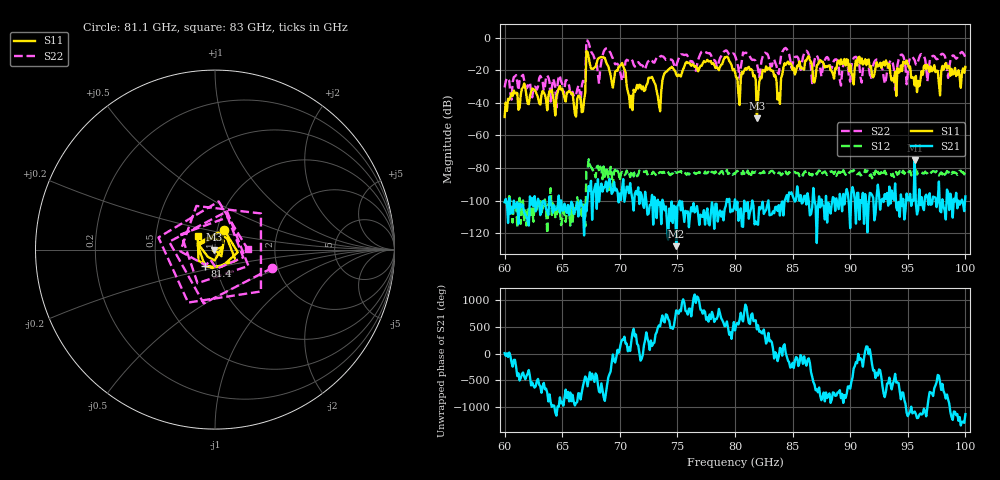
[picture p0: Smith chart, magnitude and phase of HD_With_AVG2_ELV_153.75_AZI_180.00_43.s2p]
! 11/25/2026 10:31:44 AM
! C:\ANRITSUVNA\TEMP\TEMP.S2P
! CHANNEL.1
! TR.MEASUREMENT
! RAW.DATA
# HZ S RI R 50.0
! FREQ.HZ  S11RE  S11IM  S21RE  S21IM  S12RE  S12IM  S22RE  S22IM
!; PortSelection: Port_12
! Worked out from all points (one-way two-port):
!   401 points, 60 GHz to 100 GHz, reference 50 ohm
!   highest |S21| = -75.23 dB at 95.6 GHz (marker M1); lowest = -128.0 dB at 74.9 GHz (marker M2)
!   lowest |S11| = -49.5 dB at 81.9 GHz (marker M3), VSWR 1.01, Z = 49.7 + j0.02 ohm
!   |S11| at or under -10 dB: start of sweep to 67.09 GHz; 67.24 GHz to end of sweep
!   |S22| runs from -42.9 to -1.7 dB; largest |S21 - S12| = 0.00021
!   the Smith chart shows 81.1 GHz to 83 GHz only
!   S11 on the Smith chart (normalised r, x): 81.1 GHz: 1.08, +0.24; 81.4 GHz: 0.88, -0.17; 83 GHz: 0.82, +0.12
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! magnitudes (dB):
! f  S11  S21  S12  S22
! 60 GHz  -48.7  -101.0  -100.1  -30.5
! 61.6 GHz  -30.6  -103.3  -99.9  -22.8
! 66.7 GHz  -45.7  -103.0  -109.3  -29.5
! 67.3 GHz  -12.1  -91.1  -74.7  -3.2
! 68.4 GHz  -11.8  -89.5  -80.4  -14.7
! 68.9 GHz  -16.5  -94.3  -79.5  -6.5
! 70.3 GHz  -17.5  -86.8  -84.4  -25.5
! 70.9 GHz  -42.8  -89.2  -85.6  -13.5
! 72.7 GHz  -24.4  -102.4  -83.6  -13.3
! 73.4 GHz  -41.2  -102.7  -83.0  -12.6
! 74.9 GHz  -22.7  -128.0  -82.8  -17.1
! 80 GHz  -21.2  -99.2  -83.6  -11.0
! 81.1 GHz  -18.4  -101.0  -81.5  -9.5
! 81.4 GHz  -19.3  -105.0  -84.3  -13.0
! 81.9 GHz  -49.5  -114.4  -82.7  -15.7
! 83 GHz  -18.3  -109.0  -82.6  -14.8
! 83.8 GHz  -34.3  -102.8  -82.7  -22.3
! 84.5 GHz  -15.6  -96.6  -83.7  -7.0
! 86.7 GHz  -17.5  -104.2  -84.6  -27.9
! 93.4 GHz  -16.4  -91.4  -84.1  -15.6
! 95.6 GHz  -29.4  -75.2  -85.4  -13.8
! 100 GHz  -17.9  -97.4  -81.6  -12.1
